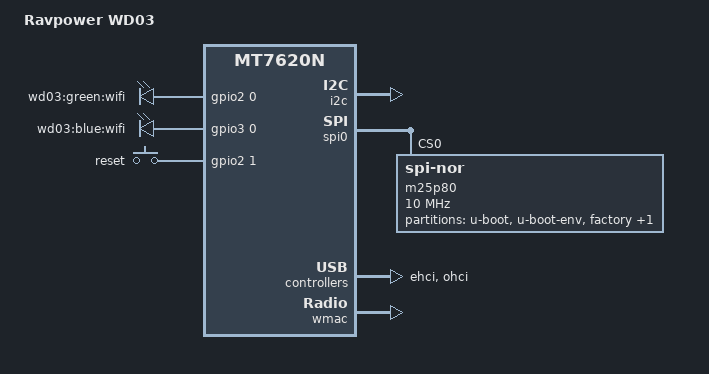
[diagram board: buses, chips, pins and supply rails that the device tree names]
/dts-v1/;

#include "mt7620n.dtsi"

#include <dt-bindings/gpio/gpio.h>
#include <dt-bindings/input/input.h>

/ {
	compatible = "ravpower,wd03", "ralink,mt7620n-soc";
	model = "Ravpower WD03";

	chosen {
		bootargs = "console=ttyS0,115200";
	};

	gpio-leds {
		compatible = "gpio-leds";

		green-wifi {
			label = "wd03:green:wifi";
			gpios = <&gpio2 0 GPIO_ACTIVE_HIGH>;
		};


		blue-wifi {
			label = "wd03:blue:wifi";
			gpios = <&gpio3 0 GPIO_ACTIVE_HIGH>;
		};
	};

	gpio-keys-polled {
		compatible = "gpio-keys-polled";
		poll-interval = <20>;

		reset {
			label = "reset";
			gpios = <&gpio2 1 GPIO_ACTIVE_HIGH>;
			linux,code = <KEY_RESTART>;
		};
	};
};

&gpio2 {
	status = "okay";
};

&gpio3 {
	status = "okay";
};

&i2c {
	status = "okay";
};

&spi0 {
	status = "okay";

	m25p80@0 {
		compatible = "jedec,spi-nor";
		reg = <0>;
		spi-max-frequency = <10000000>;

		partitions {
			compatible = "fixed-partitions";
			#address-cells = <1>;
			#size-cells = <1>;

			partition@0 {
				label = "u-boot";
				reg = <0x0 0x30000>;
				read-only;
			};

			partition@30000 {
				label = "u-boot-env";
				reg = <0x30000 0x10000>;
				read-only;
			};

			factory: partition@40000 {
				label = "factory";
				reg = <0x40000 0x10000>;
				read-only;
			};

			partition@50000 {
				label = "firmware";
				reg = <0x50000 0x7b0000>;
			};
		};
	};
};

&ehci {
	status = "okay";
};

&ohci {
	status = "okay";
};

&ethernet {
	mtd-mac-address = <&factory 0x4000>;
	ralink,port-map = "wllll";
};

&wmac {
	ralink,mtd-eeprom = <&factory 0>;
};

&pinctrl {
	state_default: pinctrl0 {
		gpio {
			ralink,group = "wled", "ephy";
			ralink,function = "gpio";
		};
	};
};
